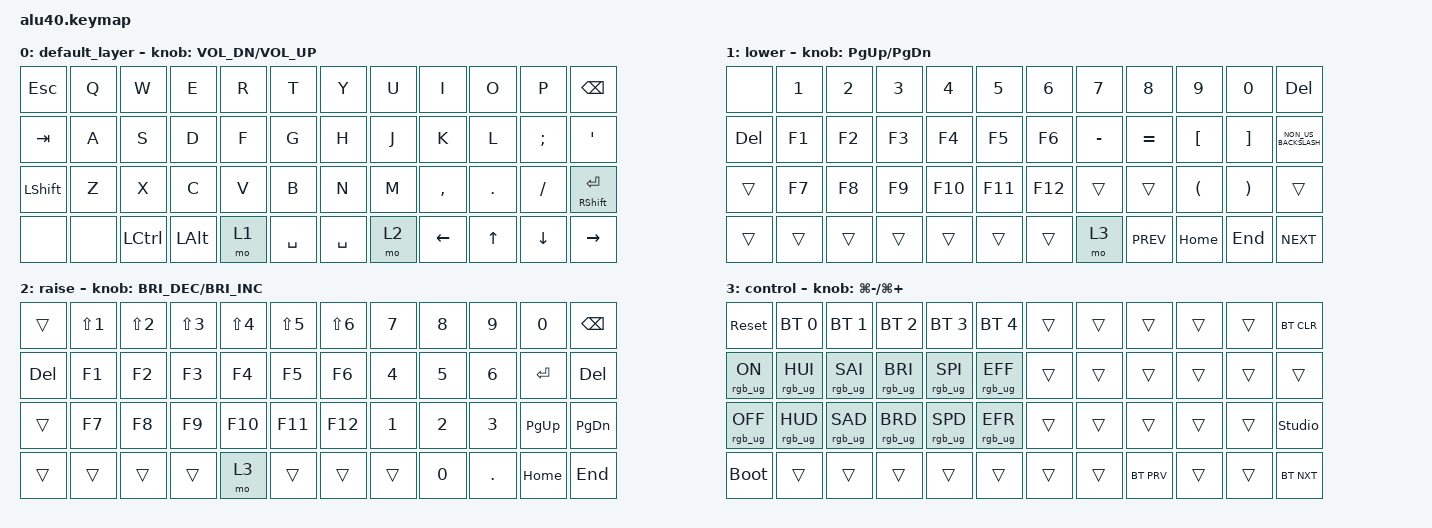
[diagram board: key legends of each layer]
/*
 * Copyright (c) 2022 The ZMK Contributors
 *
 * SPDX-License-Identifier: MIT
 */

#include <behaviors.dtsi>
#include <dt-bindings/zmk/bt.h>
#include <dt-bindings/zmk/keys.h>
#include <dt-bindings/zmk/rgb.h>

/ {
    keymap {
        compatible = "zmk,keymap";

        default_layer {
            // -----------------------------------------------------------------------------------------
            // | ESC/~ |  Q   |  W   |  E   |  R   |  T   |   Y   |  U    |  I   |  O   |   P   | BSPC  |
            // | TAB   |  A   |  S   |  D   |  F   |  G   |   H   |  J    |  K   |  L   |   ;   |  '    |
            // | SHIFT |  Z   |  X   |  C   |  V   |  B   |   N   |  M    |  ,   |  .   |   /   |RET/SFT|
            // | PLAY  | LCTL | LALT | LGUI | LOWR |     SPACE    |  RAIS | LARW | UARW | DARW  |  RARW |

            bindings = <
&kp ESCAPE  &kp Q  &kp W             &kp E         &kp R  &kp T      &kp Y      &kp U  &kp I      &kp O    &kp P     &kp BSPC
&kp TAB     &kp A  &kp S             &kp D         &kp F  &kp G      &kp H      &kp J  &kp K      &kp L    &kp SEMI  &kp SQT
&kp LSHFT   &kp Z  &kp X             &kp C         &kp V  &kp B      &kp N      &kp M  &kp COMMA  &kp DOT  &kp FSLH  &mt RSHFT RET
&none       &none  &kp LEFT_CONTROL  &kp LEFT_ALT  &mo 1  &kp SPACE  &kp SPACE  &mo 2  &kp LEFT   &kp UP   &kp DOWN  &kp RIGHT
            >;

            sensor-bindings = <&inc_dec_kp C_VOL_DN C_VOL_UP>;
        };

        lower {
            bindings = <
&none    &kp NUMBER_1  &kp NUMBER_2  &kp NUMBER_3  &kp NUMBER_4  &kp N5   &kp NUMBER_6  &kp N7     &kp N8      &kp N9                &kp N0                 &kp DEL
&kp DEL  &kp F1        &kp F2        &kp F3        &kp F4        &kp F5   &kp F6        &kp MINUS  &kp EQUAL   &kp LEFT_BRACKET      &kp RIGHT_BRACKET      &kp NON_US_BACKSLASH
&trans   &kp F7        &kp F8        &kp F9        &kp F10       &kp F11  &kp F12       &trans     &trans      &kp LEFT_PARENTHESIS  &kp RIGHT_PARENTHESIS  &trans
&trans   &trans        &trans        &trans        &trans        &trans   &trans        &mo 3      &kp C_PREV  &kp HOME              &kp END                &kp C_NEXT
            >;

            sensor-bindings = <&inc_dec_kp PG_UP PG_DN>;
        };

        raise {
            bindings = <
&trans   &kp LS(NUMBER_1)  &kp LS(NUMBER_2)  &kp LS(NUMBER_3)  &kp LS(NUMBER_4)  &kp LS(N5)  &kp LS(NUMBER_6)  &kp N7        &kp N8        &kp N9        &kp N0       &kp BSPC
&kp DEL  &kp F1            &kp F2            &kp F3            &kp F4            &kp F5      &kp F6            &kp NUMBER_4  &kp N5        &kp NUMBER_6  &kp ENTER    &kp DELETE
&trans   &kp F7            &kp F8            &kp F9            &kp F10           &kp F11     &kp F12           &kp NUMBER_1  &kp NUMBER_2  &kp NUMBER_3  &kp PAGE_UP  &kp PAGE_DOWN
&trans   &trans            &trans            &trans            &mo 3             &trans      &trans            &trans        &kp N0        &kp PERIOD    &kp HOME     &kp END
            >;

            sensor-bindings = <&inc_dec_kp C_BRI_DEC C_BRI_INC>;
        };

        control {
            bindings = <
&sys_reset       &bt BT_SEL 0     &bt BT_SEL 1     &bt BT_SEL 2     &bt BT_SEL 3     &bt BT_SEL 4     &trans  &trans  &trans      &trans  &trans  &bt BT_CLR
&rgb_ug RGB_ON   &rgb_ug RGB_HUI  &rgb_ug RGB_SAI  &rgb_ug RGB_BRI  &rgb_ug RGB_SPI  &rgb_ug RGB_EFF  &trans  &trans  &trans      &trans  &trans  &trans
&rgb_ug RGB_OFF  &rgb_ug RGB_HUD  &rgb_ug RGB_SAD  &rgb_ug RGB_BRD  &rgb_ug RGB_SPD  &rgb_ug RGB_EFR  &trans  &trans  &trans      &trans  &trans  &studio_unlock
&bootloader      &trans           &trans           &trans           &trans           &trans           &trans  &trans  &bt BT_PRV  &trans  &trans  &bt BT_NXT
            >;

            sensor-bindings = <&inc_dec_kp LG(MINUS) LG(PLUS)>;
        };

        extra1 { status = "reserved"; };

        extra2 { status = "reserved"; };

        extra3 { status = "reserved"; };

        extra4 { status = "reserved"; };
    };
};
